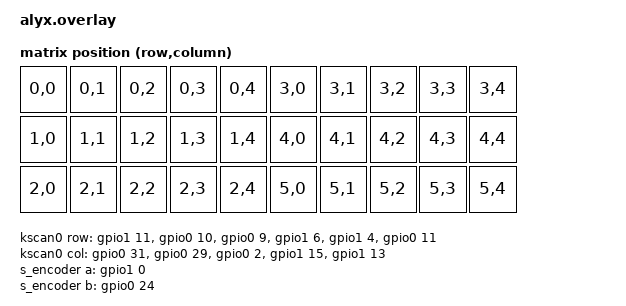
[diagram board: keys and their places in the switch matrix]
/*
 * Copyright (c) 2020 The ZMK Contributors
 *
 * SPDX-License-Identifier: MIT
 */

#include <dt-bindings/zmk/matrix_transform.h>
#include <dt-bindings/zmk/input_transform.h>

/ {
	chosen {
		zmk,kscan = &kscan0;
		zmk,matrix-transform = &default_transform;
		zephyr,console = &cdc_acm_uart;
	};

	default_transform: keymap_transform_0 {
		compatible = "zmk,matrix-transform";
		columns = <5>;
		rows = <6>;
		map = <
RC(0,0) RC(0,1) RC(0,2) RC(0,3) RC(0,4)  RC(3,0) RC(3,1) RC(3,2) RC(3,3) RC(3,4)
RC(1,0) RC(1,1) RC(1,2) RC(1,3) RC(1,4)  RC(4,0) RC(4,1) RC(4,2) RC(4,3) RC(4,4)
RC(2,0) RC(2,1) RC(2,2) RC(2,3) RC(2,4)  RC(5,0) RC(5,1) RC(5,2) RC(5,3) RC(5,4)
		>;
	};

	kscan0: kscan {
		compatible = "zmk,kscan-gpio-matrix";
		label = "KSCAN";
		diode-direction = "col2row";
		col-gpios
			= <&gpio0 31 GPIO_ACTIVE_HIGH>
			, <&gpio0 29 GPIO_ACTIVE_HIGH>
			, <&gpio0 2  GPIO_ACTIVE_HIGH>
			, <&gpio1 15 GPIO_ACTIVE_HIGH>
			, <&gpio1 13 GPIO_ACTIVE_HIGH>
			;
		row-gpios
			= <&gpio1 11 (GPIO_ACTIVE_HIGH | GPIO_PULL_DOWN)>
			, <&gpio0 10 (GPIO_ACTIVE_HIGH | GPIO_PULL_DOWN)>
			, <&gpio0 9  (GPIO_ACTIVE_HIGH | GPIO_PULL_DOWN)>
			, <&gpio1 6  (GPIO_ACTIVE_HIGH | GPIO_PULL_DOWN)>
			, <&gpio1 4  (GPIO_ACTIVE_HIGH | GPIO_PULL_DOWN)>
			, <&gpio0 11 (GPIO_ACTIVE_HIGH | GPIO_PULL_DOWN)>
			;
	};
};

/ {
	s_encoder: s_encoder {
		compatible = "alps,ec11";
		a-gpios = <&gpio1 0 (GPIO_ACTIVE_HIGH | GPIO_PULL_UP)>;
		b-gpios = <&gpio0 24 (GPIO_ACTIVE_HIGH | GPIO_PULL_UP)>;
		steps = <80>;
		status = "okay";
	};
	sensors: sensors {
		compatible = "zmk,keymap-sensors";
		sensors = <&s_encoder>;
		triggers-per-rotation = <20>;
	};
};

&gpiote { interrupts = <6 0>; };
&clock { interrupts = <0 3>; };
&power { interrupts = <0 3>; };
&radio { interrupts = <1 3>; };
&uart0 { interrupts = <2 3>; };
&i2c0 { interrupts = <3 3>; };
&spi0 { interrupts = <3 3>; };
&i2c1 { interrupts = <4 3>; };
&spi1 { interrupts = <4 3>; };
&nfct { interrupts = <5 3>; };
&adc { interrupts = <7 3>; };
&timer0 { interrupts = <8 3>; };
&timer1 { interrupts = <9 3>; };
&timer2 { interrupts = <10 3>; };
&rtc0 { interrupts = <11 3>; };
&temp { interrupts = <12 3>; };
&rng { interrupts = <13 3>; };
&ecb { interrupts = <14 3>; };
&ccm { interrupts = <15 3>; };
&wdt { interrupts = <16 3>; };
&rtc1 { interrupts = <17 3>; };
&qdec { interrupts = <18 3>; };
&comp { interrupts = <19 3>; };
&egu0 { interrupts = <20 3>; };
&egu1 { interrupts = <21 3>; };
&egu2 { interrupts = <22 3>; };
&egu3 { interrupts = <23 3>; };
&egu4 { interrupts = <24 3>; };
&egu5 { interrupts = <25 3>; };
&timer3 { interrupts = <26 3>; };
&timer4 { interrupts = <27 3>; };
&pwm0 { interrupts = <28 3>; };
&pdm0 { interrupts = <29 3>; };
&pwm1 { interrupts = <33 3>; };
&pwm2 { interrupts = <34 3>; };
&spi2 { interrupts = <35 3>; };
&rtc2 { interrupts = <36 3>; };
&i2s0 { interrupts = <37 3>; };
&usbd {
	interrupts = <39 3>;
	cdc_acm_uart: cdc_acm_uart {
		compatible = "zephyr,cdc-acm-uart";
	};
};
&uart1 { interrupts = <40 3>; };
&qspi { interrupts = <41 3>; };
&pwm3 { interrupts = <45 3>; };
&spi3 { interrupts = <47 3>; };
&cryptocell { interrupts = <42 3>; };

&pinctrl {
	uart0_ps2_default: uart0_ps2_default {
		group1 {
			psels = <NRF_PSEL(UART_TX, 0, 27)>,
				<NRF_PSEL(UART_RX, 0, 8)>;
		};
	};
	// Used during writes to release SDA (P0.08) from UART control
	// so the GPIO driver can bit-bang PS/2 protocol on it.
	// Maps UART RX to an unexposed pin (P0.28) that's not broken out
	// on the nice!nano, freeing P0.08 for GPIO use.
	uart0_ps2_off: uart0_ps2_off {
		group1 {
			psels = <NRF_PSEL(UART_TX, 0, 27)>,
				<NRF_PSEL(UART_RX, 0, 28)>;
		};
	};
};

&uart0 {
	status = "okay";
	compatible = "nordic,nrf-uarte";
	current-speed = <14400>;
	pinctrl-0 = <&uart0_ps2_default>;
	pinctrl-1 = <&uart0_ps2_off>;
	pinctrl-names = "default", "sleep";

	uart_ps2: uart_ps2 {
		status = "okay";
		compatible = "uart-ps2";
		scl-gpios = <&gpio0 6 GPIO_ACTIVE_HIGH>;
		sda-gpios = <&gpio0 8 GPIO_ACTIVE_HIGH>;
	};
};

/ {
	tpoint0: tpoint0 {
		status = "okay";
		compatible = "zmk,input-mouse-ps2";
		ps2-device = <&uart_ps2>;
		rst-gpios = <&gpio0 22 GPIO_ACTIVE_HIGH>;
	};
};

&tpoint0 {
	status = "okay";
	disable-clicking;
	tp-sensitivity = <128>;
	tp-x-invert;
	tp-y-invert;
	sampling-rate = <80>;
};

/ {
	xy_transform: xy_transform {
		compatible = "zmk,input-processor-transform";
		#input-processor-cells = <1>;
		type = <INPUT_EV_REL>;
		x-codes = <INPUT_REL_X>, <INPUT_REL_WHEEL>;
		y-codes = <INPUT_REL_Y>, <INPUT_REL_HWHEEL>;
	};

	tpoint0_listener {
		compatible = "zmk,input-listener";
		device = <&tpoint0>;
		input-processors = <&xy_transform (INPUT_TRANSFORM_Y_INVERT)>;
	};
};

